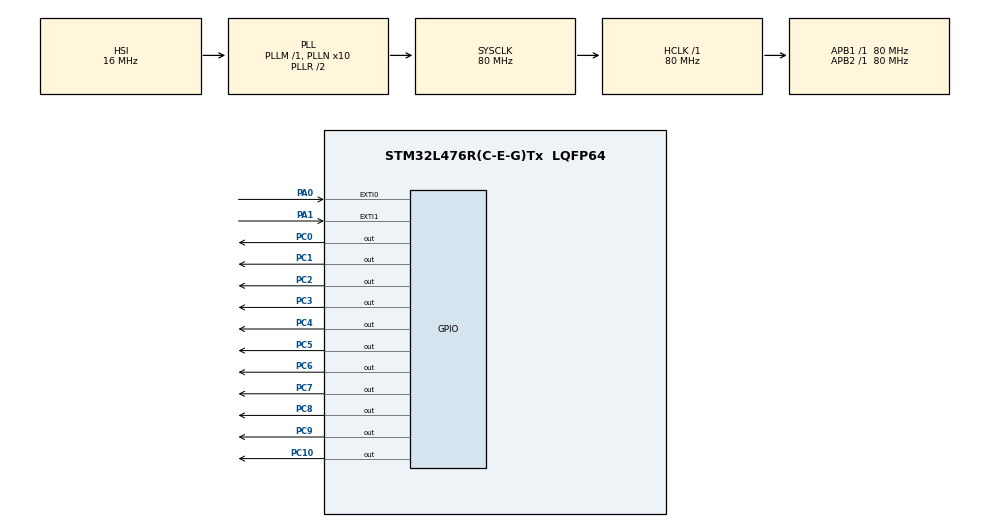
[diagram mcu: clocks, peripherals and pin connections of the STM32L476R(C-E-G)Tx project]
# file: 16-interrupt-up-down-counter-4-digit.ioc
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Mcu.Family=STM32L4
Mcu.Name=STM32L476R(C-E-G)Tx
Mcu.Package=LQFP64
NVIC.EXTI0_IRQn=true\:0\:0\:false\:false\:true\:true\:true\:true
NVIC.EXTI1_IRQn=true\:0\:0\:false\:false\:true\:true\:true\:true
NVIC.PriorityGroup=NVIC_PRIORITYGROUP_4
PA0.GPIO_ModeDefaultEXTI=GPIO_MODE_IT_FALLING
PA0.Signal=GPXTI0
PA1.GPIO_ModeDefaultEXTI=GPIO_MODE_IT_FALLING
PA1.Signal=GPXTI1
PC0.Signal=GPIO_Output
PC1.Signal=GPIO_Output
PC10.Signal=GPIO_Output
PC2.Signal=GPIO_Output
PC3.Signal=GPIO_Output
PC4.Signal=GPIO_Output
PC5.Signal=GPIO_Output
PC6.Signal=GPIO_Output
PC7.Signal=GPIO_Output
PC8.Signal=GPIO_Output
PC9.Signal=GPIO_Output
ProjectManager.HeapSize=0x200
ProjectManager.StackSize=0x400
ProjectManager.TargetToolchain=STM32CubeIDE
RCC.ADCFreq_Value=64000000
RCC.AHBFreq_Value=80000000
RCC.APB1Freq_Value=80000000
RCC.APB1TimFreq_Value=80000000
RCC.APB2Freq_Value=80000000
RCC.APB2TimFreq_Value=80000000
RCC.CortexFreq_Value=80000000
RCC.HCLKFreq_Value=80000000
RCC.HSE_VALUE=8000000
RCC.HSI_VALUE=16000000
RCC.MSI_VALUE=4000000
RCC.PLLN=10
RCC.PLLSourceVirtual=RCC_PLLSOURCE_HSI
RCC.PREFETCH_ENABLE=1
RCC.SYSCLKFreq_VALUE=80000000
RCC.SYSCLKSource=RCC_SYSCLKSOURCE_PLLCLK
RCC.USBFreq_Value=64000000
RCC.VCOOutputFreq_Value=160000000
board=NUCLEO-L476RG

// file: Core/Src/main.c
/* USER CODE BEGIN Header */
/**
  ******************************************************************************
  * @file           : main.c
  * @brief          : Main program body
  ******************************************************************************
  * @attention
  *
  * Copyright (c) 2025 STMicroelectronics.
  * All rights reserved.
  *
  * This software is licensed under terms that can be found in the LICENSE file
  * in the root directory of this software component.
  * If no LICENSE file comes with this software, it is provided AS-IS.
  *
  ******************************************************************************
  */
/* USER CODE END Header */
#include "main.h"

void SystemClock_Config(void);
static void MX_GPIO_Init(void);

/* USER CODE BEGIN 0 */
//display number
int DisplayNumber = 90;
//array of register hex number
int LED_Hex[] = {
  0x3F,    // 0
  0x06,    // 1
  0x5B,    // 2
  0x4F,    // 3
  0x66,    // 4
  0x6D,    // 5
  0x7D,    // 6
  0x07,    // 7
  0x7F,    // 8
  0x6F     // 9
};
//Digit Array
int DigitArray[] = {enable_digit1, enable_digit2, enable_digit3, enable_digit4};
//Reset all digits
void ResetAllDigits() {
  int DigitLength = sizeof(DigitArray) / sizeof(DigitArray[0]);    //digit length
  for(int i = 0; i < DigitLength; i++) {
    HAL_GPIO_WritePin(GPIOC, DigitArray[i], GPIO_PIN_RESET);    //disabled
  }
}

void HAL_GPIO_EXTI_Callback(uint16_t GPIO_Pin) {
  //button 1 to increase number
  if(GPIO_Pin == Increase) {
    DisplayNumber++;
    if(DisplayNumber > 9999) {
      DisplayNumber = 0;
    }
  }
  //button 2 to decrease number
  else if(GPIO_Pin == Decrease) {
    DisplayNumber--;
	if(DisplayNumber < 0) {
      DisplayNumber = 0;
    }
  }
}
/* USER CODE END 0 */

int main(void)
{

  /* MCU Configuration--------------------------------------------------------*/

  /* Reset of all peripherals, Initializes the Flash interface and the Systick. */
  HAL_Init();

  /* Configure the system clock */
  SystemClock_Config();

  /* Initialize all configured peripherals */
  MX_GPIO_Init();
  /* USER CODE BEGIN 2 */
  ResetAllDigits();    //Reset all digits
  /* USER CODE END 2 */

  /* Infinite loop */
  /* USER CODE BEGIN WHILE */
  while (1)
  {
    //Digit Position 0
    int DigitPosition0 = DisplayNumber > 0 ? DisplayNumber % 10 : 0;
    //Digit Position 1
    int DigitPosition1 = (DisplayNumber - DigitPosition0) % 100 * 0.1;
    //Digit Position 2
    int DigitPosition2 = (DisplayNumber - DigitPosition1*10 - DigitPosition0) % 1000 * 0.01;
    //Digit Position 3
    int DigitPosition3 = (DisplayNumber - DigitPosition2*100 - DigitPosition1*10 - DigitPosition0) * 0.001;
    //Digit Number Array
    int DigitNumberArray[] = {DigitPosition3, DigitPosition2, DigitPosition1, DigitPosition0};
    int ArrayLength = sizeof(DigitNumberArray) / sizeof(DigitNumberArray[0]);    //array length
    int IsLeading = 0;    //leading number greater than zero

    for(int i = 0; i < ArrayLength; i++) {
      //ignore leading zero
      if(IsLeading == 0 && i < (ArrayLength-1)) {
        if(DigitNumberArray[i] == 0) {
          continue;
        }
        else if(DigitNumberArray[i] > 0) {
          IsLeading = 1;
        }
      }
      GPIOC -> ODR = LED_Hex[DigitNumberArray[i]];    //write to register
      HAL_GPIO_WritePin(GPIOC, DigitArray[i], GPIO_PIN_SET);    //enabled
      HAL_Delay(5);    //delay
      HAL_GPIO_WritePin(GPIOC, DigitArray[i], GPIO_PIN_RESET);    //disabled
    }
    /* USER CODE END WHILE */

  }
}

void SystemClock_Config(void)
{
  RCC_OscInitTypeDef RCC_OscInitStruct = {0};
  RCC_ClkInitTypeDef RCC_ClkInitStruct = {0};

  /** Configure the main internal regulator output voltage
  */
  if (HAL_PWREx_ControlVoltageScaling(PWR_REGULATOR_VOLTAGE_SCALE1) != HAL_OK)
  {
    Error_Handler();
  }

  /** Initializes the RCC Oscillators according to the specified parameters
  * in the RCC_OscInitTypeDef structure.
  */
  RCC_OscInitStruct.OscillatorType = RCC_OSCILLATORTYPE_HSI;
  RCC_OscInitStruct.HSIState = RCC_HSI_ON;
  RCC_OscInitStruct.HSICalibrationValue = RCC_HSICALIBRATION_DEFAULT;
  RCC_OscInitStruct.PLL.PLLState = RCC_PLL_ON;
  RCC_OscInitStruct.PLL.PLLSource = RCC_PLLSOURCE_HSI;
  RCC_OscInitStruct.PLL.PLLM = 1;
  RCC_OscInitStruct.PLL.PLLN = 10;
  RCC_OscInitStruct.PLL.PLLP = RCC_PLLP_DIV7;
  RCC_OscInitStruct.PLL.PLLQ = RCC_PLLQ_DIV2;
  RCC_OscInitStruct.PLL.PLLR = RCC_PLLR_DIV2;
  if (HAL_RCC_OscConfig(&RCC_OscInitStruct) != HAL_OK)
  {
    Error_Handler();
  }

  /** Initializes the CPU, AHB and APB buses clocks
  */
  RCC_ClkInitStruct.ClockType = RCC_CLOCKTYPE_HCLK|RCC_CLOCKTYPE_SYSCLK
                              |RCC_CLOCKTYPE_PCLK1|RCC_CLOCKTYPE_PCLK2;
  RCC_ClkInitStruct.SYSCLKSource = RCC_SYSCLKSOURCE_PLLCLK;
  RCC_ClkInitStruct.AHBCLKDivider = RCC_SYSCLK_DIV1;
  RCC_ClkInitStruct.APB1CLKDivider = RCC_HCLK_DIV1;
  RCC_ClkInitStruct.APB2CLKDivider = RCC_HCLK_DIV1;

  if (HAL_RCC_ClockConfig(&RCC_ClkInitStruct, FLASH_LATENCY_4) != HAL_OK)
  {
    Error_Handler();
  }
}

static void MX_GPIO_Init(void)
{
  GPIO_InitTypeDef GPIO_InitStruct = {0};

  /* GPIO Ports Clock Enable */
  __HAL_RCC_GPIOC_CLK_ENABLE();
  __HAL_RCC_GPIOA_CLK_ENABLE();

  /*Configure GPIO pin Output Level */
  HAL_GPIO_WritePin(GPIOC, GPIO_PIN_0|GPIO_PIN_1|GPIO_PIN_2|GPIO_PIN_3
                          |GPIO_PIN_4|GPIO_PIN_5|GPIO_PIN_6|GPIO_PIN_7
                          |GPIO_PIN_8|GPIO_PIN_9|GPIO_PIN_10, GPIO_PIN_RESET);

  /*Configure GPIO pins : PC0 PC1 PC2 PC3
                           PC4 PC5 PC6 PC7
                           PC8 PC9 PC10 */
  GPIO_InitStruct.Pin = GPIO_PIN_0|GPIO_PIN_1|GPIO_PIN_2|GPIO_PIN_3
                          |GPIO_PIN_4|GPIO_PIN_5|GPIO_PIN_6|GPIO_PIN_7
                          |GPIO_PIN_8|GPIO_PIN_9|GPIO_PIN_10;
  GPIO_InitStruct.Mode = GPIO_MODE_OUTPUT_PP;
  GPIO_InitStruct.Pull = GPIO_NOPULL;
  GPIO_InitStruct.Speed = GPIO_SPEED_FREQ_LOW;
  HAL_GPIO_Init(GPIOC, &GPIO_InitStruct);

  /*Configure GPIO pins : PA0 PA1 */
  GPIO_InitStruct.Pin = GPIO_PIN_0|GPIO_PIN_1;
  GPIO_InitStruct.Mode = GPIO_MODE_IT_FALLING;
  GPIO_InitStruct.Pull = GPIO_NOPULL;
  HAL_GPIO_Init(GPIOA, &GPIO_InitStruct);

  /* EXTI interrupt init*/
  HAL_NVIC_SetPriority(EXTI0_IRQn, 0, 0);
  HAL_NVIC_EnableIRQ(EXTI0_IRQn);

  HAL_NVIC_SetPriority(EXTI1_IRQn, 0, 0);
  HAL_NVIC_EnableIRQ(EXTI1_IRQn);

}

void Error_Handler(void)
{
  __disable_irq();
  while (1)
  {
  }
}
